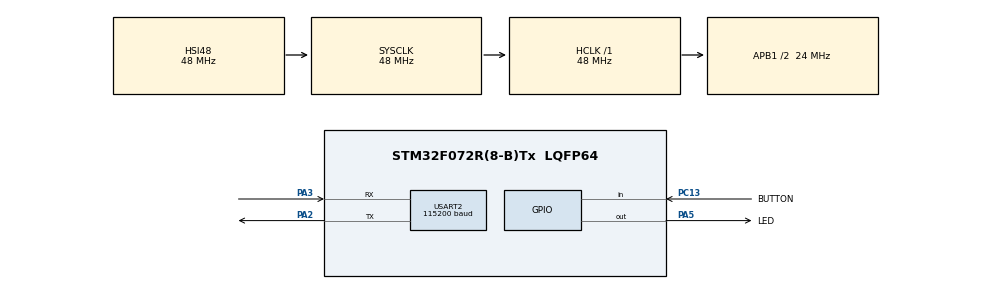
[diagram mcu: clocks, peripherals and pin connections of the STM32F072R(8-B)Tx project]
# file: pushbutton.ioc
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Mcu.Family=STM32F0
Mcu.Name=STM32F072R(8-B)Tx
Mcu.Package=LQFP64
NVIC.TIM17_IRQn=true\:0\:0\:false\:false\:true\:true\:true
PA2.Mode=Asynchronous
PA2.Signal=USART2_TX
PA3.Mode=Asynchronous
PA3.Signal=USART2_RX
PA5.GPIO_Label=LED
PA5.GPIO_ModeDefaultOutputPP=GPIO_MODE_OUTPUT_PP
PA5.Signal=GPIO_Output
PC13.GPIO_Label=BUTTON
PC13.Signal=GPIO_Input
ProjectManager.HeapSize=0x200
ProjectManager.StackSize=0x400
ProjectManager.TargetToolchain=STM32CubeIDE
RCC.AHBFreq_Value=48000000
RCC.APB1CLKDivider=RCC_HCLK_DIV2
RCC.APB1Freq_Value=24000000
RCC.APB1TimFreq_Value=48000000
RCC.HCLKFreq_Value=48000000
RCC.PLLSourceVirtual=RCC_PLLSOURCE_HSI48
RCC.SYSCLKFreq_VALUE=48000000
RCC.SYSCLKSource=RCC_SYSCLKSOURCE_HSI48
TIM17.AutoReloadPreload=TIM_AUTORELOAD_PRELOAD_DISABLE
TIM17.Period=1
TIM17.Prescaler=24000
USART2.BaudRate=115200
USART2.VirtualMode-Asynchronous=VM_ASYNC
VP_TIM17_VS_ClockSourceINT.Mode=Enable_Timer
board=NUCLEO-F072RB

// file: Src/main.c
/* USER CODE BEGIN Header */
/**
  ******************************************************************************
  * @file           : main.c
  * @brief          : Main program body
  ******************************************************************************
  * @attention
  *
  * <h2><center>&copy; Copyright (c) 2019 STMicroelectronics.
  * All rights reserved.</center></h2>
  *
  * This software component is licensed by ST under BSD 3-Clause license,
  * the "License"; You may not use this file except in compliance with the
  * License. You may obtain a copy of the License at:
  *                        opensource.org/licenses/BSD-3-Clause
  *
  ******************************************************************************
  */
/* USER CODE END Header */

#include "main.h"

/* USER CODE BEGIN Includes */
#include "pushbutton.h"
#include "printf_override.h"
/* USER CODE END Includes */

TIM_HandleTypeDef htim17;

UART_HandleTypeDef huart2;

void SystemClock_Config(void);
static void MX_GPIO_Init(void);
static void MX_TIM17_Init(void);
static void MX_USART2_UART_Init(void);

int main(void)
{

  /* MCU Configuration--------------------------------------------------------*/

  /* Reset of all peripherals, Initializes the Flash interface and the Systick. */
  HAL_Init();

  /* Configure the system clock */
  SystemClock_Config();

  /* Initialize all configured peripherals */
  MX_GPIO_Init();
  MX_TIM17_Init();
  MX_USART2_UART_Init();
  /* USER CODE BEGIN 2 */
  HAL_TIM_Base_Start_IT(&htim17);
  pb_init(LED_GPIO_Port, LED_Pin, BUTTON_GPIO_Port, BUTTON_Pin);
  pb_start_blink(250);
  HAL_Delay(10000);
  pb_start_blink(750);
  /* USER CODE END 2 */

  /* Infinite loop */
  /* USER CODE BEGIN WHILE */
  while (1)
  {
	  printf("Button State: ");
	  switch (pb_state()) {
	      case RELEASED:
	          printf("RELEASED\n\r");
	          break;
	      case SHORT_PRESSED:
	          printf("SHORT_PRESSED\n\r");
	          break;
	      case LONG_PRESSED:
	    	  printf("LONG_PRESSED\n\r");
	    	  break;
	      default:
	    	  printf("This shouldn't run\n\r");
	  }
	  HAL_Delay(50);
    /* USER CODE END WHILE */

  }
}

void SystemClock_Config(void)
{
  RCC_OscInitTypeDef RCC_OscInitStruct = {0};
  RCC_ClkInitTypeDef RCC_ClkInitStruct = {0};
  RCC_PeriphCLKInitTypeDef PeriphClkInit = {0};

  /** Initializes the CPU, AHB and APB busses clocks
  */
  RCC_OscInitStruct.OscillatorType = RCC_OSCILLATORTYPE_HSI48;
  RCC_OscInitStruct.HSI48State = RCC_HSI48_ON;
  RCC_OscInitStruct.PLL.PLLState = RCC_PLL_NONE;
  if (HAL_RCC_OscConfig(&RCC_OscInitStruct) != HAL_OK)
  {
    Error_Handler();
  }
  /** Initializes the CPU, AHB and APB busses clocks
  */
  RCC_ClkInitStruct.ClockType = RCC_CLOCKTYPE_HCLK|RCC_CLOCKTYPE_SYSCLK
                              |RCC_CLOCKTYPE_PCLK1;
  RCC_ClkInitStruct.SYSCLKSource = RCC_SYSCLKSOURCE_HSI48;
  RCC_ClkInitStruct.AHBCLKDivider = RCC_SYSCLK_DIV1;
  RCC_ClkInitStruct.APB1CLKDivider = RCC_HCLK_DIV2;

  if (HAL_RCC_ClockConfig(&RCC_ClkInitStruct, FLASH_LATENCY_1) != HAL_OK)
  {
    Error_Handler();
  }
  PeriphClkInit.PeriphClockSelection = RCC_PERIPHCLK_USART2;
  PeriphClkInit.Usart2ClockSelection = RCC_USART2CLKSOURCE_PCLK1;
  if (HAL_RCCEx_PeriphCLKConfig(&PeriphClkInit) != HAL_OK)
  {
    Error_Handler();
  }
}

static void MX_TIM17_Init(void)
{

  htim17.Instance = TIM17;
  htim17.Init.Prescaler = 24000;
  htim17.Init.CounterMode = TIM_COUNTERMODE_UP;
  htim17.Init.Period = 1;
  htim17.Init.ClockDivision = TIM_CLOCKDIVISION_DIV1;
  htim17.Init.RepetitionCounter = 0;
  htim17.Init.AutoReloadPreload = TIM_AUTORELOAD_PRELOAD_DISABLE;
  if (HAL_TIM_Base_Init(&htim17) != HAL_OK)
  {
    Error_Handler();
  }

}

static void MX_USART2_UART_Init(void)
{

  huart2.Instance = USART2;
  huart2.Init.BaudRate = 115200;
  huart2.Init.WordLength = UART_WORDLENGTH_8B;
  huart2.Init.StopBits = UART_STOPBITS_1;
  huart2.Init.Parity = UART_PARITY_NONE;
  huart2.Init.Mode = UART_MODE_TX_RX;
  huart2.Init.HwFlowCtl = UART_HWCONTROL_NONE;
  huart2.Init.OverSampling = UART_OVERSAMPLING_16;
  huart2.Init.OneBitSampling = UART_ONE_BIT_SAMPLE_DISABLE;
  huart2.AdvancedInit.AdvFeatureInit = UART_ADVFEATURE_NO_INIT;
  if (HAL_UART_Init(&huart2) != HAL_OK)
  {
    Error_Handler();
  }

}

static void MX_GPIO_Init(void)
{
  GPIO_InitTypeDef GPIO_InitStruct = {0};

  /* GPIO Ports Clock Enable */
  __HAL_RCC_GPIOC_CLK_ENABLE();
  __HAL_RCC_GPIOA_CLK_ENABLE();

  /*Configure GPIO pin Output Level */
  HAL_GPIO_WritePin(LED_GPIO_Port, LED_Pin, GPIO_PIN_RESET);

  /*Configure GPIO pin : BUTTON_Pin */
  GPIO_InitStruct.Pin = BUTTON_Pin;
  GPIO_InitStruct.Mode = GPIO_MODE_INPUT;
  GPIO_InitStruct.Pull = GPIO_NOPULL;
  HAL_GPIO_Init(BUTTON_GPIO_Port, &GPIO_InitStruct);

  /*Configure GPIO pin : LED_Pin */
  GPIO_InitStruct.Pin = LED_Pin;
  GPIO_InitStruct.Mode = GPIO_MODE_OUTPUT_PP;
  GPIO_InitStruct.Pull = GPIO_NOPULL;
  GPIO_InitStruct.Speed = GPIO_SPEED_FREQ_LOW;
  HAL_GPIO_Init(LED_GPIO_Port, &GPIO_InitStruct);

}

/* USER CODE BEGIN 4 */
void HAL_TIM_PeriodElapsedCallback(TIM_HandleTypeDef *htim17) {
	pb_update();
}
/* USER CODE END 4 */

void Error_Handler(void)
{
}

/************************ (C) COPYRIGHT STMicroelectronics *****END OF FILE****/
